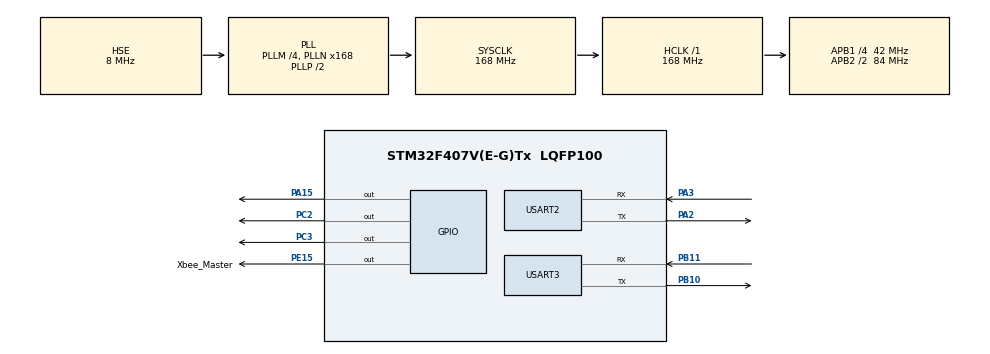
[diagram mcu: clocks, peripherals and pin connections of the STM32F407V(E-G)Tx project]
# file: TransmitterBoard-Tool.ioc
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Dma.Request0=USART2_RX
Dma.Request1=USART2_TX
Dma.USART2_RX.0.Direction=DMA_PERIPH_TO_MEMORY
Dma.USART2_RX.0.FIFOMode=DMA_FIFOMODE_DISABLE
Dma.USART2_RX.0.Instance=DMA1_Stream5
Dma.USART2_RX.0.MemDataAlignment=DMA_MDATAALIGN_BYTE
Dma.USART2_RX.0.MemInc=DMA_MINC_ENABLE
Dma.USART2_RX.0.Mode=DMA_CIRCULAR
Dma.USART2_RX.0.PeriphDataAlignment=DMA_PDATAALIGN_BYTE
Dma.USART2_RX.0.PeriphInc=DMA_PINC_DISABLE
Dma.USART2_RX.0.Priority=DMA_PRIORITY_LOW
Dma.USART2_TX.1.Direction=DMA_MEMORY_TO_PERIPH
Dma.USART2_TX.1.FIFOMode=DMA_FIFOMODE_DISABLE
Dma.USART2_TX.1.Instance=DMA1_Stream6
Dma.USART2_TX.1.MemDataAlignment=DMA_MDATAALIGN_BYTE
Dma.USART2_TX.1.MemInc=DMA_MINC_ENABLE
Dma.USART2_TX.1.Mode=DMA_NORMAL
Dma.USART2_TX.1.PeriphDataAlignment=DMA_PDATAALIGN_BYTE
Dma.USART2_TX.1.PeriphInc=DMA_PINC_DISABLE
Dma.USART2_TX.1.Priority=DMA_PRIORITY_LOW
Mcu.Family=STM32F4
Mcu.Name=STM32F407V(E-G)Tx
Mcu.Package=LQFP100
NVIC.DMA1_Stream5_IRQn=true\:1\:0\:true\:false\:true\:false\:true\:true
NVIC.DMA1_Stream6_IRQn=true\:1\:0\:true\:false\:true\:false\:true\:true
NVIC.PriorityGroup=NVIC_PRIORITYGROUP_4
NVIC.USART2_IRQn=true\:0\:0\:false\:false\:true\:true\:true\:true
NVIC.USART3_IRQn=true\:0\:0\:true\:false\:true\:true\:true\:true
PA13.Mode=Serial_Wire
PA13.Signal=SYS_JTMS-SWDIO
PA14.Mode=Serial_Wire
PA14.Signal=SYS_JTCK-SWCLK
PA15.Signal=GPIO_Output
PA2.Mode=Asynchronous
PA2.Signal=USART2_TX
PA3.Mode=Asynchronous
PA3.Signal=USART2_RX
PB10.Mode=Asynchronous
PB10.Signal=USART3_TX
PB11.Mode=Asynchronous
PB11.Signal=USART3_RX
PC14-OSC32_IN.Mode=LSE-External-Oscillator
PC14-OSC32_IN.Signal=RCC_OSC32_IN
PC15-OSC32_OUT.Mode=LSE-External-Oscillator
PC15-OSC32_OUT.Signal=RCC_OSC32_OUT
PC2.Signal=GPIO_Output
PC3.Signal=GPIO_Output
PE15.GPIO_Label=Xbee_Master
PE15.GPIO_Speed=GPIO_SPEED_FREQ_VERY_HIGH
PE15.Signal=GPIO_Output
PH0-OSC_IN.Mode=HSE-External-Oscillator
PH0-OSC_IN.Signal=RCC_OSC_IN
PH1-OSC_OUT.Mode=HSE-External-Oscillator
PH1-OSC_OUT.Signal=RCC_OSC_OUT
ProjectManager.HeapSize=0x200
ProjectManager.StackSize=0x400
ProjectManager.TargetToolchain=MDK-ARM V5
RCC.48MHZClocksFreq_Value=84000000
RCC.AHBFreq_Value=168000000
RCC.APB1CLKDivider=RCC_HCLK_DIV4
RCC.APB1Freq_Value=42000000
RCC.APB1TimFreq_Value=84000000
RCC.APB2CLKDivider=RCC_HCLK_DIV2
RCC.APB2Freq_Value=84000000
RCC.APB2TimFreq_Value=168000000
RCC.CortexFreq_Value=168000000
RCC.HCLKFreq_Value=168000000
RCC.HSE_VALUE=8000000
RCC.HSI_VALUE=16000000
RCC.PLLM=4
RCC.PLLN=168
RCC.PLLSourceVirtual=RCC_PLLSOURCE_HSE
RCC.SYSCLKFreq_VALUE=168000000
RCC.SYSCLKSource=RCC_SYSCLKSOURCE_PLLCLK
RCC.VCOOutputFreq_Value=336000000
USART2.VirtualMode=VM_ASYNC
USART3.VirtualMode=VM_ASYNC
board=custom

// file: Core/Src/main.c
/* USER CODE BEGIN Header */
/**
  ******************************************************************************
  * @file           : main.c
  * @brief          : Main program body
  ******************************************************************************
  * @attention
  *
  * Copyright (c) 2024 STMicroelectronics.
  * All rights reserved.
  *
  * This software is licensed under terms that can be found in the LICENSE file
  * in the root directory of this software component.
  * If no LICENSE file comes with this software, it is provided AS-IS.
  *
  ******************************************************************************
  */
/* USER CODE END Header */
#include "main.h"

/* USER CODE BEGIN Includes */
#include "cmsis_os2.h"
#include "math.h"
#include "stdio.h"
#include "string.h"
#include "stdlib.h"
#include "joystick.h"
/* USER CODE END Includes */

UART_HandleTypeDef huart2;
UART_HandleTypeDef huart3;
DMA_HandleTypeDef hdma_usart2_rx;
DMA_HandleTypeDef hdma_usart2_tx;

/* USER CODE BEGIN PV */
uint32_t g_timeOutLoopBoot 					= 0;
uint32_t g_clockSystem_u32 					= 0;
uint16_t g_ID_UART_send_u16					= 0;

extern APPLICATION_FLASH_INFO 			app_info;
extern APPLICATION_ADC_INFO					app_adc_infor;
extern APPLICATION_SLAVE_INFO				app_slave_infor;

// Uart
bool isFirstConnect = true;
// Uart 2: Receive and transmit
uint8_t 	rxm[40]										= {0}; //  13
char 			feedbackFlagData[17]			= ""; //
char 			feedbackFlagStateData[83]	= ""; //
bool 			isSendData						    = true;
// Flag for processing data between transmiter board (this board) and controller tool
bool 			isSendFeedbackFlag				= true;
bool			isSendFeedbackFlagState		= false;
bool			isSendMessage3						= false;

// Data for Sending
uint8_t 			isConnectVehicleFlag	= 0;
uint8_t   		isCalibSensorFlag			= 0;
uint8_t   		isStartSensorFlag			= 0;
uint8_t   		isCalibMotorFlag			= 0;
uint8_t   		isOnMotorFlag					= 0;
uint8_t   		isStateResponseFlag		= 0;
uint8_t   		isPlot3DAnimationFlag	= 0;
uint8_t   		isPlotRefResFlag			= 0;

// Data Receiving from controller tool
uint8_t				getConnectVehicle  = 0;
uint8_t				startCalibSensor   = 0;
uint8_t				startSensor				 = 0;
uint8_t				startCalibMotor		 = 0;
uint8_t				startMotor         = 0;
uint8_t				getStateResponse   = 0;
uint8_t				plot3DAnimation 	 = 0;
uint8_t				plotRefRes         = 0;

double 				motorSpeed1  			 = 11000.0;
double 				motorSpeed2  			 = 8000.0;
double 				motorSpeed3  			 = 8000.0;
double 				motorSpeed4  			 = 11000.0;
/* USER CODE END PV */

void SystemClock_Config(void);
static void MX_GPIO_Init(void);
static void MX_DMA_Init(void);
static void MX_USART2_UART_Init(void);
static void MX_USART3_UART_Init(void);
/* USER CODE BEGIN PFP */
void Init_Config(void);
/* USER CODE END PFP */

/* USER CODE BEGIN 0 */
osThreadId_t task_Main;
const osThreadAttr_t task_Main_Attr = {
  .name = "task_Main",
  .stack_size = 1024,
  .priority = (osPriority_t) osPriorityNormal,
};
osThreadId_t task_ToolCommunication;
const osThreadAttr_t task_ToolCommunication_Attr = {
  .name = "task_ToolCommunication",
  .stack_size = 1024,
  .priority = (osPriority_t) osPriorityNormal,
};
osThreadId_t task_ReceiverCommunication;
const osThreadAttr_t task_ReceiverCommunication_Attr = {
  .name = "task_ReceiverCommunication",
  .stack_size = 1024, // 512
  .priority = (osPriority_t) osPriorityNormal,
};

void App_Main (void *argument) {
	joystickInitial();
	for(;;)
	{
		Main_Processing();
	}
}
void ToolCommunication_Process (void *argument) {
	sprintf(feedbackFlagData, "%1d,%1d,%1d,%1d,%1d,%1d,%1d,%1d\r\n" ,isConnectVehicleFlag,
				isCalibSensorFlag, isStartSensorFlag, isCalibMotorFlag, isOnMotorFlag, isStateResponseFlag,
				isPlot3DAnimationFlag, isPlotRefResFlag);
	ToolCommunication_Initization();
	for(;;)
	{
		ToolCommunication_Processing();
	}
}
void ReceiverCommunication_Process (void *argument) {
	Protocol_Initial();
	for(;;)
	{
		ReceiverCommunication_Processing();
	}
}

/* USER CODE END 0 */

int main(void)
{

  /* MCU Configuration--------------------------------------------------------*/

  /* Reset of all peripherals, Initializes the Flash interface and the Systick. */
  HAL_Init();

  /* Configure the system clock */
  SystemClock_Config();

  /* USER CODE BEGIN SysInit */
	#if 0
  /* USER CODE END SysInit */

  /* Initialize all configured peripherals */
  MX_GPIO_Init();
  MX_DMA_Init();
  MX_USART2_UART_Init();
  MX_USART3_UART_Init();

  /* Infinite loop */
  while (1)
  {

    /* USER CODE BEGIN 3 */
	#endif

	SystemCoreClockUpdate();
	Init_Config();
	osKernelInitialize();
	task_Main 								 = osThreadNew(App_Main, NULL, &task_Main_Attr);    																		// Create App_main thread
  task_ToolCommunication 		 = osThreadNew(ToolCommunication_Process, NULL, &task_ToolCommunication_Attr);    			// Create ToolCommunication thread
	task_ReceiverCommunication = osThreadNew(ReceiverCommunication_Process, NULL, &task_ReceiverCommunication_Attr);  // Create ReceiverCommunication thread
  osKernelStart();                      						// Start thread execution
  for (;;) {}

  /* USER CODE END 3 */
}

void SystemClock_Config(void)
{
  RCC_OscInitTypeDef RCC_OscInitStruct = {0};
  RCC_ClkInitTypeDef RCC_ClkInitStruct = {0};

  /** Configure the main internal regulator output voltage
  */
  __HAL_RCC_PWR_CLK_ENABLE();
  __HAL_PWR_VOLTAGESCALING_CONFIG(PWR_REGULATOR_VOLTAGE_SCALE1);

  /** Initializes the RCC Oscillators according to the specified parameters
  * in the RCC_OscInitTypeDef structure.
  */
  RCC_OscInitStruct.OscillatorType = RCC_OSCILLATORTYPE_HSE;
  RCC_OscInitStruct.HSEState = RCC_HSE_ON;
  RCC_OscInitStruct.PLL.PLLState = RCC_PLL_ON;
  RCC_OscInitStruct.PLL.PLLSource = RCC_PLLSOURCE_HSE;
  RCC_OscInitStruct.PLL.PLLM = 4;
  RCC_OscInitStruct.PLL.PLLN = 168;
  RCC_OscInitStruct.PLL.PLLP = RCC_PLLP_DIV2;
  RCC_OscInitStruct.PLL.PLLQ = 4;
  if (HAL_RCC_OscConfig(&RCC_OscInitStruct) != HAL_OK)
  {
    Error_Handler();
  }

  /** Initializes the CPU, AHB and APB buses clocks
  */
  RCC_ClkInitStruct.ClockType = RCC_CLOCKTYPE_HCLK|RCC_CLOCKTYPE_SYSCLK
                              |RCC_CLOCKTYPE_PCLK1|RCC_CLOCKTYPE_PCLK2;
  RCC_ClkInitStruct.SYSCLKSource = RCC_SYSCLKSOURCE_PLLCLK;
  RCC_ClkInitStruct.AHBCLKDivider = RCC_SYSCLK_DIV1;
  RCC_ClkInitStruct.APB1CLKDivider = RCC_HCLK_DIV4;
  RCC_ClkInitStruct.APB2CLKDivider = RCC_HCLK_DIV2;

  if (HAL_RCC_ClockConfig(&RCC_ClkInitStruct, FLASH_LATENCY_5) != HAL_OK)
  {
    Error_Handler();
  }
}

static void MX_USART2_UART_Init(void)
{

  huart2.Instance = USART2;
  huart2.Init.BaudRate = 115200;
  huart2.Init.WordLength = UART_WORDLENGTH_8B;
  huart2.Init.StopBits = UART_STOPBITS_1;
  huart2.Init.Parity = UART_PARITY_NONE;
  huart2.Init.Mode = UART_MODE_TX_RX;
  huart2.Init.HwFlowCtl = UART_HWCONTROL_NONE;
  huart2.Init.OverSampling = UART_OVERSAMPLING_16;
  if (HAL_UART_Init(&huart2) != HAL_OK)
  {
    Error_Handler();
  }

}

static void MX_USART3_UART_Init(void)
{

  huart3.Instance = USART3;
  huart3.Init.BaudRate = 115200;
  huart3.Init.WordLength = UART_WORDLENGTH_8B;
  huart3.Init.StopBits = UART_STOPBITS_1;
  huart3.Init.Parity = UART_PARITY_NONE;
  huart3.Init.Mode = UART_MODE_TX_RX;
  huart3.Init.HwFlowCtl = UART_HWCONTROL_NONE;
  huart3.Init.OverSampling = UART_OVERSAMPLING_16;
  if (HAL_UART_Init(&huart3) != HAL_OK)
  {
    Error_Handler();
  }

}

static void MX_DMA_Init(void)
{

  /* DMA controller clock enable */
  __HAL_RCC_DMA1_CLK_ENABLE();

  /* DMA interrupt init */
  /* DMA1_Stream5_IRQn interrupt configuration */
  HAL_NVIC_SetPriority(DMA1_Stream5_IRQn, 0, 0);
  HAL_NVIC_EnableIRQ(DMA1_Stream5_IRQn);
  /* DMA1_Stream6_IRQn interrupt configuration */
  HAL_NVIC_SetPriority(DMA1_Stream6_IRQn, 0, 0);
  HAL_NVIC_EnableIRQ(DMA1_Stream6_IRQn);

}

static void MX_GPIO_Init(void)
{
  GPIO_InitTypeDef GPIO_InitStruct = {0};

  /* GPIO Ports Clock Enable */
  __HAL_RCC_GPIOC_CLK_ENABLE();
  __HAL_RCC_GPIOH_CLK_ENABLE();
  __HAL_RCC_GPIOA_CLK_ENABLE();
  __HAL_RCC_GPIOE_CLK_ENABLE();
  __HAL_RCC_GPIOB_CLK_ENABLE();

  /*Configure GPIO pin Output Level */
  HAL_GPIO_WritePin(GPIOC, GPIO_PIN_2|GPIO_PIN_3, GPIO_PIN_RESET);

  /*Configure GPIO pin Output Level */
  HAL_GPIO_WritePin(Xbee_Master_GPIO_Port, Xbee_Master_Pin, GPIO_PIN_RESET);

  /*Configure GPIO pin Output Level */
  HAL_GPIO_WritePin(GPIOA, GPIO_PIN_15, GPIO_PIN_RESET);

  /*Configure GPIO pins : PC2 PC3 */
  GPIO_InitStruct.Pin = GPIO_PIN_2|GPIO_PIN_3;
  GPIO_InitStruct.Mode = GPIO_MODE_OUTPUT_PP;
  GPIO_InitStruct.Pull = GPIO_NOPULL;
  GPIO_InitStruct.Speed = GPIO_SPEED_FREQ_LOW;
  HAL_GPIO_Init(GPIOC, &GPIO_InitStruct);

  /*Configure GPIO pin : Xbee_Master_Pin */
  GPIO_InitStruct.Pin = Xbee_Master_Pin;
  GPIO_InitStruct.Mode = GPIO_MODE_OUTPUT_PP;
  GPIO_InitStruct.Pull = GPIO_NOPULL;
  GPIO_InitStruct.Speed = GPIO_SPEED_FREQ_VERY_HIGH;
  HAL_GPIO_Init(Xbee_Master_GPIO_Port, &GPIO_InitStruct);

  /*Configure GPIO pin : PA15 */
  GPIO_InitStruct.Pin = GPIO_PIN_15;
  GPIO_InitStruct.Mode = GPIO_MODE_OUTPUT_PP;
  GPIO_InitStruct.Pull = GPIO_NOPULL;
  GPIO_InitStruct.Speed = GPIO_SPEED_FREQ_LOW;
  HAL_GPIO_Init(GPIOA, &GPIO_InitStruct);

}

/* USER CODE BEGIN 4 */
void Init_Config(void)
{
	MX_GPIO_Init();
	MX_DMA_Init();
  MX_USART2_UART_Init();
	MX_USART3_UART_Init();

	__HAL_UART_ENABLE_IT(&huart2, UART_IT_RXNE);
//	HAL_DMA_Start_IT(&DmaHandle, (uint32_t)&aSRC_Const_Buffer, (uint32_t)&aDST_Buffer, BUFFER_SIZE)
	// Turn on xbee
	//HAL_GPIO_WritePin(Xbee_GPIO_Port, Xbee_Pin, 1);

  //MX_USB_OTG_FS_PCD_Init();
}

void system_resetMCU(void){
    NVIC_SystemReset();
    //USBD_Reset(0);
    osDelay(2800);
    while(1);
}

/* USER CODE END 4 */

void Error_Handler(void)
{
  __disable_irq();
  while (1)
  {
  }
}
